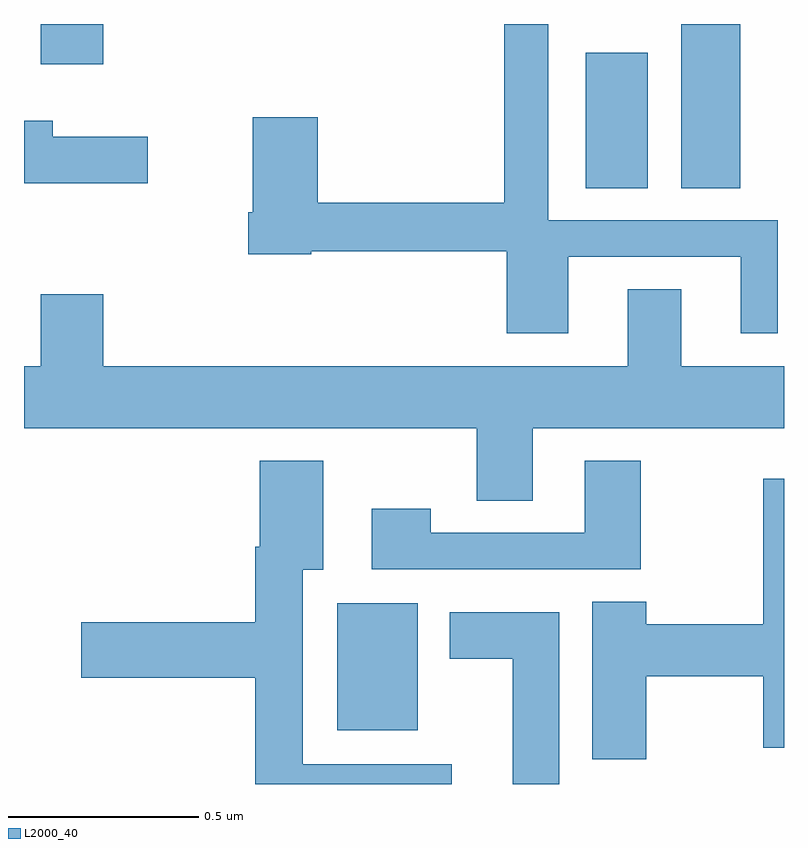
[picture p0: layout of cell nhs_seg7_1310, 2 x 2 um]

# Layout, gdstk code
import gdstk
lib = gdstk.Library(unit=1e-6, precision=1e-09)
def R(c, l, rs):  # rectangles x0, y0, x1, y1
    for r in rs: c.add(gdstk.rectangle(r[:2], r[2:], *l))
def P(c, l, *ps):  # polygons
    for p in ps: c.add(gdstk.Polygon(p, *l))
L2000_40 = (2000, 40)

nhs_seg7_1310 = lib.new_cell('nhs_seg7_1310')
R(nhs_seg7_1310, L2000_40, [(129.824,1013.141,130.036,1013.476), (130.478,1014.568,130.642,1014.925), (130.73,1014.568,130.885,1015), (129.044,1014.894,129.208,1015)])
P(nhs_seg7_1310, L2000_40, [(130.432,1014.387),(130.886,1014.387),(130.886,1014.186),(130.984,1014.186),(130.984,1014.483),(130.38,1014.483),(130.38,1015),(130.264,1015),(130.264,1014.53),(129.773,1014.53),(129.773,1014.754),(129.602,1014.754),(129.602,1014.505),(129.59,1014.505),(129.59,1014.394),(129.756,1014.394),(129.756,1014.402),(130.271,1014.402),(130.271,1014.186),(130.432,1014.186)],
  [(129.325,1014.703),(129.076,1014.703),(129.076,1014.745),(129,1014.745),(129,1014.581),(129.325,1014.581)],
  [(130.339,1013.936),(131,1013.936),(131,1014.1),(130.729,1014.1),(130.729,1014.302),(130.589,1014.302),(130.589,1014.1),(129.208,1014.1),(129.208,1014.289),(129.044,1014.289),(129.044,1014.1),(129,1014.1),(129,1013.936),(130.192,1013.936),(130.192,1013.746),(130.339,1013.746)],
  [(130.623,1013.851),(130.475,1013.851),(130.475,1013.661),(130.071,1013.661),(130.071,1013.725),(129.915,1013.725),(129.915,1013.565),(130.623,1013.565)],
  [(130.126,1013.052),(129.733,1013.052),(129.733,1013.564),(129.787,1013.564),(129.787,1013.851),(129.62,1013.851),(129.62,1013.624),(129.608,1013.624),(129.608,1013.426),(129.15,1013.426),(129.15,1013.279),(129.608,1013.279),(129.608,1013),(130.126,1013)],
  [(130.638,1013.284),(130.945,1013.284),(130.945,1013.096),(131,1013.096),(131,1013.803),(130.945,1013.803),(130.945,1013.42),(130.638,1013.42),(130.638,1013.48),(130.496,1013.48),(130.496,1013.065),(130.638,1013.065)],
  [(130.408,1013.452),(130.121,1013.452),(130.121,1013.33),(130.286,1013.33),(130.286,1013),(130.408,1013)])

lib.write_gds('nhs_seg7_1310.gds')
